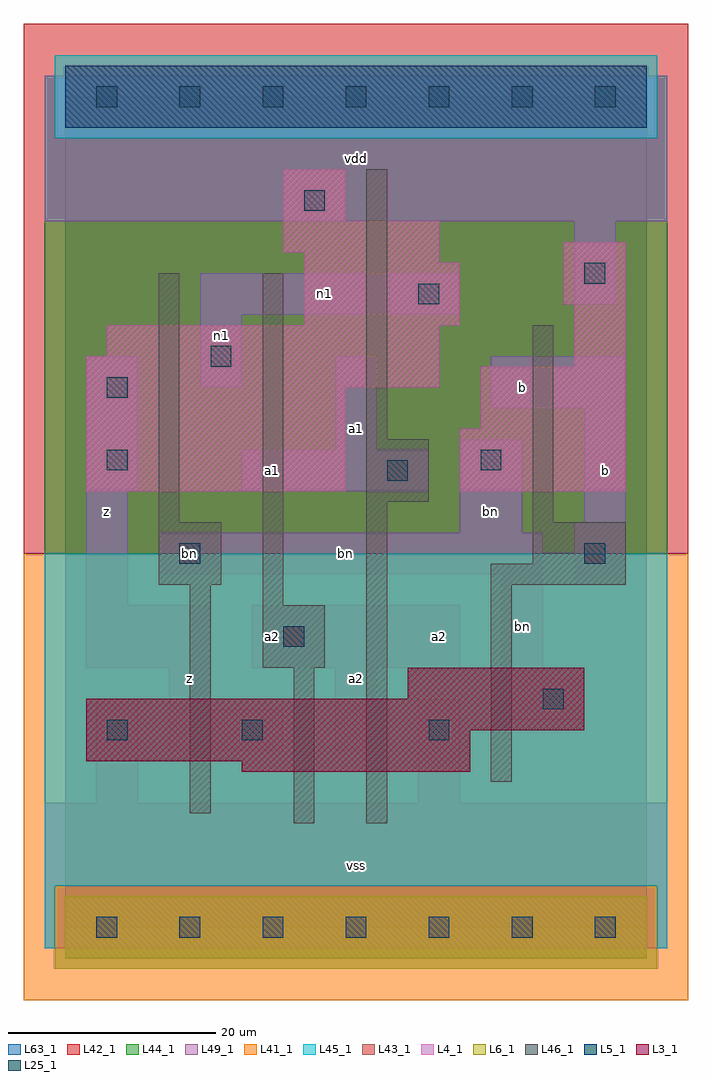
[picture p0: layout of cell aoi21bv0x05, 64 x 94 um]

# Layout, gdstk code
import gdstk
lib = gdstk.Library(unit=1e-6, precision=1e-09)
def R(c, l, rs):  # rectangles x0, y0, x1, y1
    for r in rs: c.add(gdstk.rectangle(r[:2], r[2:], *l))
def A(c, l, x, y, w, h, nx, ny, dx, dy):  # array of equal rectangles
    R(c, l, [(x+i*dx, y+j*dy, x+i*dx+w, y+j*dy+h) for i in range(nx) for j in range(ny)])
L3_1 = (3, 1)
L4_1 = (4, 1)
L5_1 = (5, 1)
L6_1 = (6, 1)
L25_1 = (25, 1)
L41_1 = (41, 1)
L42_1 = (42, 1)
L43_1 = (43, 1)
L44_1 = (44, 1)
L45_1 = (45, 1)
L46_1 = (46, 1)
L49_1 = (49, 1)
L63_1 = (63, 1)

aoi21bv0x05 = lib.new_cell('aoi21bv0x05')
R(aoi21bv0x05, L3_1, [(17,15,39,16), (2,16,39,19), (2,19,50,22), (33,22,50,25)])
R(aoi21bv0x05, L4_1, [(2,42,27,52), (38,42,54,48), (40,48,54,54), (2,52,36,55), (49,54,54,60), (4,55,36,58), (23,58,38,64), (48,60,54,66), (23,64,36,65), (21,65,36,68), (21,68,27,73)])
R(aoi21bv0x05, L5_1, [(0,77,56,83)])
R(aoi21bv0x05, L6_1, [(0,-3,56,3), (0,-3,56,3)])
A(aoi21bv0x05, L25_1, 3, -1, 2, 2, 7, 2, 8, 80)
R(aoi21bv0x05, L25_1, [(4,18,6,20), (17,18,19,20), (35,18,37,20), (46,21,48,23), (21,27,23,29), (11,35,13,37), (50,35,52,37), (31,43,33,45), (4,44,6,46), (40,44,42,46), (4,51,6,53), (14,54,16,56), (34,60,36,62), (50,62,52,64), (23,69,25,71)])
R(aoi21bv0x05, L41_1, [(-4,-7,60,36)])
R(aoi21bv0x05, L42_1, [(-4,36,60,87)])
R(aoi21bv0x05, L43_1, [(0,-3,56,3), (17,15,39,16), (2,16,39,19), (2,19,50,22), (33,22,50,25), (2,42,27,52), (38,42,54,48), (40,48,54,54), (2,52,36,55), (49,54,54,60), (4,55,36,58), (23,58,38,64), (48,60,54,66), (23,64,36,65), (21,65,36,68), (21,68,27,73), (0,77,56,83)])
R(aoi21bv0x05, L44_1, [(-1,-4,57,4), (-2,36,58,76), (-2,76,-1,82), (57,76,58,82)])
R(aoi21bv0x05, L45_1, [(-2,-2,-1,4), (57,-2,58,4), (-2,4,58,36), (-1,76,57,84)])
R(aoi21bv0x05, L46_1, [(22,10,24,25), (29,10,31,41), (12,11,14,33), (41,14,43,33), (19,25,25,31), (19,31,21,63), (9,33,15,39), (41,33,54,35), (45,35,54,39), (9,39,11,63), (45,39,47,58), (29,41,35,47), (29,47,31,73)])
R(aoi21bv0x05, L49_1, [(-2,-2,58,12), (3,12,7,22), (34,12,38,22), (10,17,21,21), (26,17,30,25), (42,20,50,24), (10,21,14,25), (42,24,46,34), (2,25,14,31), (18,25,38,31), (2,31,6,42), (49,33,54,39), (9,34,46,38), (38,38,44,47), (50,39,54,50), (2,42,7,55), (17,42,35,46), (26,46,30,55), (41,50,54,55), (13,52,17,59), (13,59,38,63), (49,60,53,68), (-2,68,58,82)])
R(aoi21bv0x05, L63_1, [(0,0,56,80)])
aoi21bv0x05.add(gdstk.Label('bn', (12,36), layer=49, texttype=1))
aoi21bv0x05.add(gdstk.Label('z', (4,40), layer=49, texttype=1))
aoi21bv0x05.add(gdstk.Label('z', (12,24), layer=49, texttype=1))
aoi21bv0x05.add(gdstk.Label('n1', (15,57), layer=49, texttype=1))
aoi21bv0x05.add(gdstk.Label('vss', (28,6), layer=49, texttype=1))
aoi21bv0x05.add(gdstk.Label('a2', (20,28), layer=49, texttype=1))
aoi21bv0x05.add(gdstk.Label('a2', (28,24), layer=49, texttype=1))
aoi21bv0x05.add(gdstk.Label('a1', (20,44), layer=49, texttype=1))
aoi21bv0x05.add(gdstk.Label('a1', (28,48), layer=49, texttype=1))
aoi21bv0x05.add(gdstk.Label('vdd', (28,74), layer=49, texttype=1))
aoi21bv0x05.add(gdstk.Label('a2', (36,28), layer=49, texttype=1))
aoi21bv0x05.add(gdstk.Label('bn', (44,29), layer=49, texttype=1))
aoi21bv0x05.add(gdstk.Label('bn', (27,36), layer=49, texttype=1))
aoi21bv0x05.add(gdstk.Label('bn', (41,40), layer=49, texttype=1))
aoi21bv0x05.add(gdstk.Label('b', (44,52), layer=49, texttype=1))
aoi21bv0x05.add(gdstk.Label('n1', (25,61), layer=49, texttype=1))
aoi21bv0x05.add(gdstk.Label('b', (52,44), layer=49, texttype=1))

lib.write_gds('aoi21bv0x05.gds')
